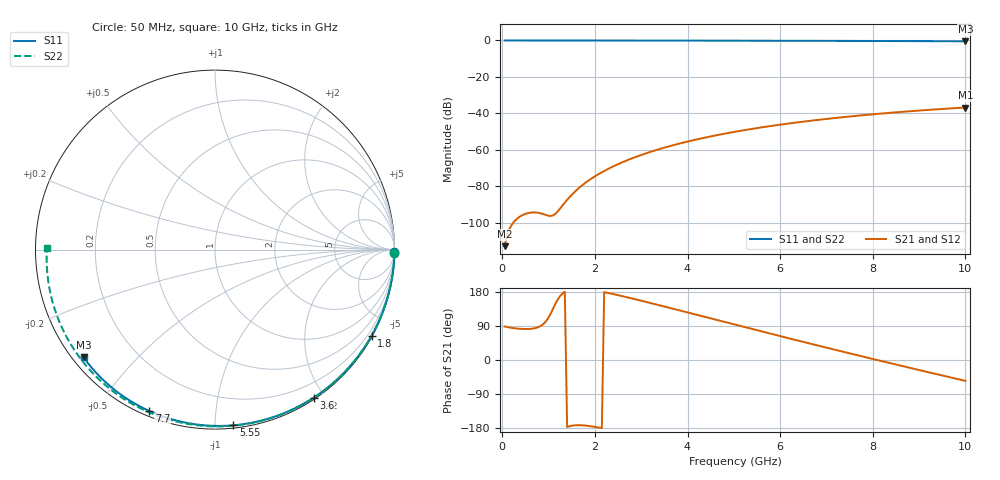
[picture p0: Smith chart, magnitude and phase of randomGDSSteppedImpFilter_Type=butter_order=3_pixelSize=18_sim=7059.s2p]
! freq	dB(S11)	phase(S11)	dB(S12)	phase(S12)
!  dB(S21)	phase(S21)	dB(S22)	phase(S22)
!S-par simulation data
#  GHz  S  DB  R 50
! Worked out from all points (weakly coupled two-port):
!   200 points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, 50 MHz to 10 GHz, reference 50 ohm
!   highest |S21| = -36.84 dB at 10 GHz (marker M1); lowest = -113.0 dB at 50 MHz (marker M2)
!   lowest |S11| = -0.5 dB at 10 GHz (marker M3), VSWR 36.66, Z = 1.54 - j17.9 ohm
!   |S11| at or under -10 dB: nowhere
!   |S22| runs from -0.6 to 0.0 dB; largest |S21 - S12| = 0
!   S11 on the Smith chart (normalised r, x): 50 MHz: open; 1.8 GHz: 0.03, -3.89; 3.6 GHz: 0.02, -1.87; 5.55 GHz: 0.02, -1.11; 7.7 GHz: 0.02, -0.67; 10 GHz: 0.03, -0.36
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0.05  -0.00 -0.8  -112.98 88.5  -112.98 88.5  -0.00 -1.1
0.45  -0.01 -7.3  -95.75 81.9  -95.75 81.9  -0.01 -9.6
0.85  -0.02 -13.8  -95.10 91.5  -95.10 91.5  -0.02 -18.1
1.25  -0.03 -20.2  -92.29 169.0  -92.29 169.0  -0.03 -26.4
1.7  -0.03 -27.3  -80.06 -172.2  -80.06 -172.2  -0.05 -35.7
1.75  -0.04 -28.1  -79.05 -172.5  -79.05 -172.5  -0.05 -36.7
1.8  -0.04 -28.8  -78.08 -173.1  -78.08 -173.1  -0.05 -37.7
2.1  -0.04 -33.5  -73.10 -178.6  -73.10 -178.6  -0.06 -43.8
2.3  -0.05 -36.6  -70.35 176.5  -70.35 176.5  -0.06 -47.8
2.5  -0.05 -39.7  -67.93 171.1  -67.93 171.1  -0.07 -51.8
2.9  -0.06 -45.8  -63.80 159.5  -63.80 159.5  -0.08 -59.6
3.4  -0.07 -53.4  -59.61 144.2  -59.61 144.2  -0.09 -69.2
3.6  -0.08 -56.3  -58.15 138.0  -58.15 138.0  -0.10 -72.9
4.3  -0.09 -66.5  -53.78 116.1  -53.78 116.1  -0.12 -85.8
5.05  -0.12 -77.1  -50.03 92.5  -50.03 92.5  -0.15 -99.0
5.55  -0.14 -84.0  -47.93 76.9  -47.93 76.9  -0.18 -107.6
6.1  -0.16 -91.4  -45.90 60.0  -45.90 60.0  -0.21 -116.8
6.7  -0.19 -99.3  -43.97 41.6  -43.97 41.6  -0.24 -126.7
7.7  -0.26 -112.1  -41.26 11.6  -41.26 11.6  -0.32 -142.9
8.35  -0.31 -120.3  -39.79 -7.5  -39.79 -7.5  -0.38 -153.4
9.2  -0.39 -130.8  -38.13 -32.2  -38.13 -32.2  -0.47 -167.3
10  -0.47 -140.7  -36.84 -55.1  -36.84 -55.1  -0.57 179.3
